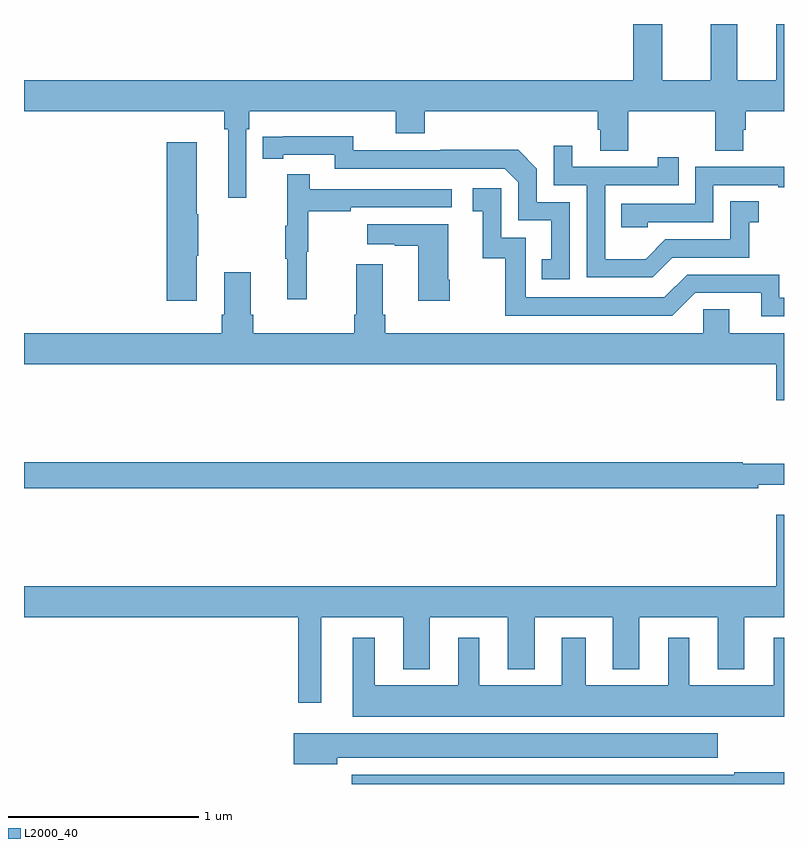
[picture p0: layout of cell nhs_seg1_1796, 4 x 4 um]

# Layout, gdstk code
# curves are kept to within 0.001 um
import gdstk
lib = gdstk.Library(unit=1e-6, precision=1e-09)
def P(c, l, *ps):  # polygons
    for p in ps: c.add(gdstk.Polygon(p, *l))
L2000_40 = (2000, 40)

nhs_seg1_1796 = lib.new_cell('nhs_seg1_1796')
P(nhs_seg1_1796, L2000_40, [(210.171,543.644),(210.185,543.644),(210.185,543.74),(210.956,543.74),(210.956,543.623),(211.109,543.623),(211.109,543.74),(212.021,543.74),(212.021,543.642),(212.033,543.642),(212.033,543.532),(212.181,543.532),(212.181,543.74),(212.638,543.74),(212.638,543.532),(212.785,543.532),(212.785,543.642),(212.798,543.642),(212.798,543.74),(213,543.74),(213,544.199),(212.96,544.199),(212.96,543.904),(212.755,543.904),(212.755,544.199),(212.615,544.199),(212.615,543.904),(212.359,543.904),(212.359,544.199),(212.207,544.199),(212.207,543.904),(209,543.904),(209,543.74),(210.055,543.74),(210.055,543.644),(210.074,543.644),(210.074,543.285),(210.171,543.285)],
  [(211.872,543.261),(211.698,543.261),(211.698,543.438),(211.6,543.536),(211.192,543.536),(211.192,543.534),(210.732,543.534),(210.732,543.607),(210.256,543.606),(210.256,543.49),(210.364,543.49),(210.364,543.51),(210.636,543.51),(210.636,543.438),(211.53,543.438),(211.602,543.366),(211.602,543.165),(211.775,543.165),(211.775,542.961),(211.726,542.961),(211.726,542.856),(211.872,542.856)],
  [(209.908,542.98),(209.916,542.98),(209.916,543.197),(209.908,543.197),(209.908,543.577),(209.75,543.577),(209.75,542.742),(209.908,542.742)],
  [(212.413,542.97),(212.817,542.97),(212.817,543.155),(212.866,543.155),(212.866,543.265),(212.718,543.265),(212.718,543.066),(212.376,543.066),(212.272,542.962),(212.058,542.962),(212.058,543.351),(212.447,543.351),(212.447,543.499),(212.336,543.499),(212.336,543.447),(211.885,543.447),(211.885,543.559),(211.788,543.559),(211.788,543.351),(211.962,543.351),(211.962,542.865),(212.308,542.865)],
  [(212.283,543.156),(212.628,543.156),(212.628,543.351),(212.969,543.351),(212.969,543.339),(213,543.339),(213,543.447),(212.532,543.447),(212.532,543.252),(212.143,543.252),(212.143,543.129),(212.283,543.129)],
  [(210.488,543),(210.496,543),(210.496,543.214),(210.719,543.214),(210.719,543.234),(211.252,543.234),(211.252,543.33),(210.503,543.33),(210.503,543.409),(210.386,543.409),(210.386,543.137),(210.375,543.137),(210.375,542.963),(210.386,542.963),(210.386,542.751),(210.488,542.751)],
  [(213,542.757),(212.976,542.757),(212.976,542.88),(212.49,542.88),(212.37,542.76),(211.641,542.76),(211.641,543.075),(211.512,543.075),(211.512,543.334),(211.362,543.334),(211.362,543.213),(211.415,543.213),(211.415,542.967),(211.533,542.967),(211.533,542.664),(212.412,542.664),(212.532,542.784),(212.879,542.784),(212.879,542.661),(213,542.661)],
  [(211.242,542.854),(211.234,542.854),(211.234,543.145),(210.807,543.145),(210.807,543.041),(210.95,543.041),(210.95,543.031),(211.076,543.031),(211.076,542.742),(211.242,542.742)],
  [(213,542.572),(212.713,542.572),(212.713,542.699),(212.574,542.699),(212.574,542.572),(210.902,542.572),(210.902,542.668),(210.889,542.668),(210.889,542.935),(210.749,542.935),(210.749,542.668),(210.737,542.668),(210.737,542.572),(210.206,542.572),(210.206,542.668),(210.193,542.668),(210.193,542.893),(210.053,542.893),(210.053,542.668),(210.041,542.668),(210.041,542.572),(209,542.572),(209,542.408),(212.96,542.408),(212.96,542.22),(213,542.22)],
  [(212.864,541.775),(213,541.775),(213,541.885),(212.782,541.885),(212.782,541.892),(209,541.892),(209,541.756),(212.864,541.756)],
  [(209,541.076),(210.444,541.076),(210.444,540.627),(210.565,540.627),(210.565,541.076),(210.995,541.076),(210.995,540.803),(211.135,540.803),(211.135,541.076),(211.547,541.076),(211.547,540.803),(211.687,540.803),(211.687,541.076),(212.099,541.076),(212.099,540.803),(212.239,540.803),(212.239,541.076),(212.651,541.076),(212.651,540.803),(212.791,540.803),(212.791,541.076),(213,541.076),(213,541.615),(212.96,541.615),(212.96,541.24),(209,541.24)],
  [(213,540.97),(212.945,540.97),(212.945,540.718),(212.5,540.718),(212.5,540.97),(212.39,540.97),(212.39,540.718),(211.957,540.718),(211.957,540.97),(211.829,540.97),(211.829,540.718),(211.396,540.718),(211.396,540.97),(211.286,540.97),(211.286,540.718),(210.847,540.718),(210.847,540.97),(210.731,540.97),(210.731,540.554),(213,540.554)],
  [(210.649,540.338),(212.65,540.338),(212.65,540.466),(210.42,540.466),(210.42,540.302),(210.649,540.302)],
  [(213,540.262),(212.737,540.262),(212.737,540.249),(210.725,540.249),(210.725,540.199),(213,540.199)])

lib.write_gds('nhs_seg1_1796.gds')
